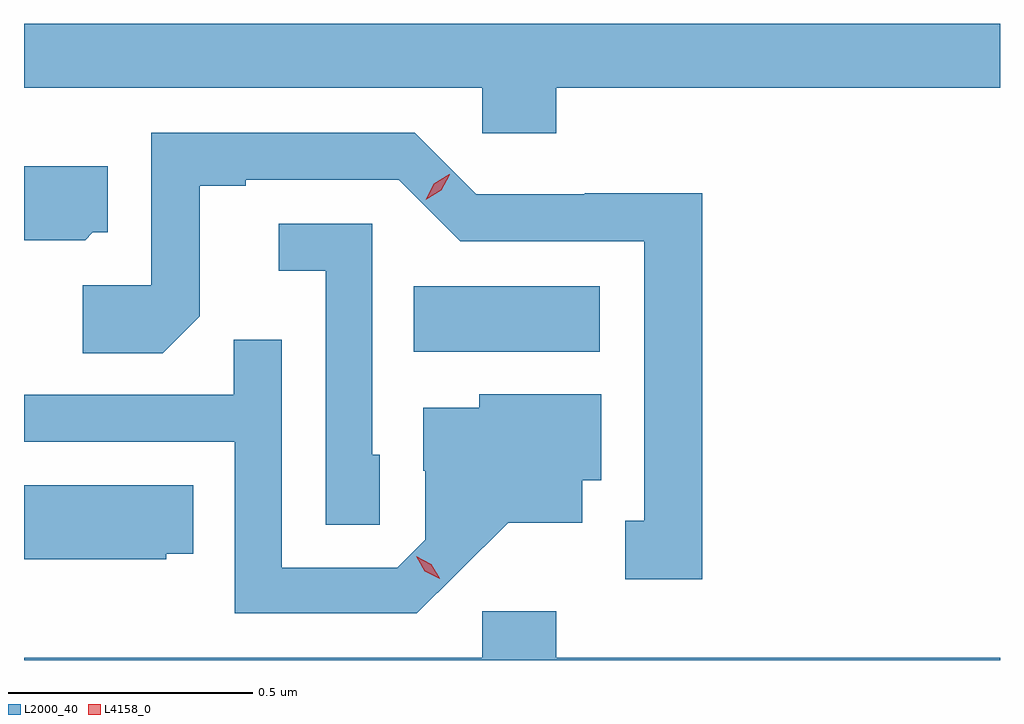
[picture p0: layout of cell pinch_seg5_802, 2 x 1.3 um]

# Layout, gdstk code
import gdstk
lib = gdstk.Library(unit=1e-6, precision=1e-09)
def R(c, l, rs):  # rectangles x0, y0, x1, y1
    for r in rs: c.add(gdstk.rectangle(r[:2], r[2:], *l))
def P(c, l, *ps):  # polygons
    for p in ps: c.add(gdstk.Polygon(p, *l))
L2000_40 = (2000, 40)
L4158_0 = (4158, 0)

pinch_seg5_802 = lib.new_cell('pinch_seg5_802')
R(pinch_seg5_802, L2000_40, [(773.398,914.828,773.779,914.962)])
P(pinch_seg5_802, L2000_40, [(773.69,915.368),(774.599,915.368),(774.599,915.5),(772.599,915.5),(772.599,915.368),(773.538,915.368),(773.538,915.275),(773.69,915.275)],
  [(773.989,915.152),(773.748,915.152),(773.748,915.15),(773.526,915.15),(773.4,915.276),(772.86,915.276),(772.86,914.964),(772.719,914.964),(772.719,914.824),(772.883,914.824),(772.959,914.9),(772.959,915.168),(773.053,915.168),(773.053,915.18),(773.367,915.18),(773.493,915.054),(773.87,915.054),(773.87,914.481),(773.831,914.481),(773.831,914.361),(773.989,914.361)],
  [(772.74,915.072),(772.771,915.072),(772.771,915.208),(772.599,915.208),(772.599,915.056),(772.724,915.056)],
  [(773.328,914.616),(773.313,914.616),(773.313,915.09),(773.121,915.09),(773.121,914.993),(773.217,914.993),(773.217,914.473),(773.328,914.473)],
  [(773.488,914.375),(773.591,914.477),(773.743,914.477),(773.743,914.564),(773.782,914.564),(773.782,914.74),(773.532,914.74),(773.532,914.713),(773.417,914.713),(773.417,914.584),(773.421,914.584),(773.421,914.442),(773.364,914.385),(773.127,914.385),(773.127,914.852),(773.029,914.852),(773.029,914.739),(772.599,914.739),(772.599,914.643),(773.031,914.643),(773.031,914.292),(773.404,914.292)],
  [(772.89,914.414),(772.946,914.414),(772.946,914.554),(772.599,914.554),(772.599,914.402),(772.89,914.402)],
  [(774.599,914.2),(773.69,914.2),(773.69,914.296),(773.538,914.296),(773.538,914.2),(772.599,914.2),(772.599,914.195),(774.599,914.195)])
P(pinch_seg5_802, L4158_0, [(773.422,915.139),(773.422,915.139),(773.439,915.172),(773.47,915.191),(773.471,915.191),(773.471,915.19),(773.454,915.158),(773.422,915.139)],
  [(773.451,914.362),(773.42,914.378),(773.403,914.408),(773.403,914.408),(773.403,914.408),(773.434,914.392),(773.451,914.363),(773.451,914.362)])

lib.write_gds('pinch_seg5_802.gds')
